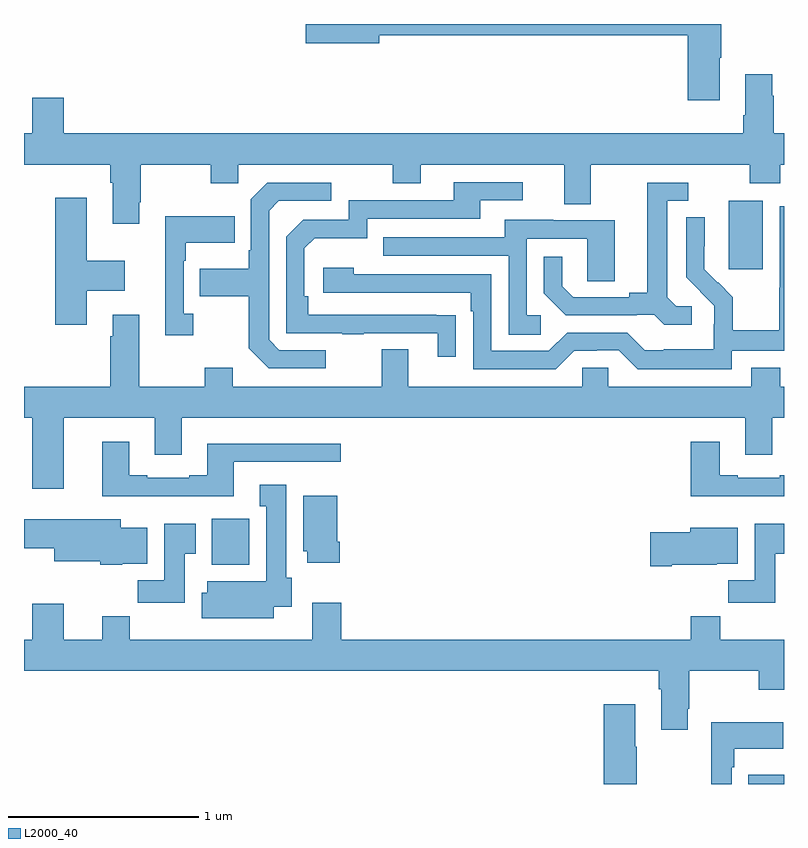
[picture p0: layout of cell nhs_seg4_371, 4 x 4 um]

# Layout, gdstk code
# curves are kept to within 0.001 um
import gdstk
lib = gdstk.Library(unit=1e-6, precision=1e-09)
def R(c, l, rs):  # rectangles x0, y0, x1, y1
    for r in rs: c.add(gdstk.rectangle(r[:2], r[2:], *l))
def P(c, l, *ps):  # polygons
    for p in ps: c.add(gdstk.Polygon(p, *l))
L2000_40 = (2000, 40)

nhs_seg4_371 = lib.new_cell('nhs_seg4_371')
R(nhs_seg4_371, L2000_40, [(132.811,786.9,133,786.949), (129.989,788.054,130.186,788.296), (132.71,789.609,132.889,789.97)])
P(nhs_seg4_371, L2000_40, [(132.661,790.723),(132.669,790.723),(132.669,790.9),(130.482,790.9),(130.482,790.798),(130.87,790.798),(130.87,790.84),(132.494,790.84),(132.494,790.5),(132.661,790.5)],
  [(132.945,790.523),(132.937,790.523),(132.937,790.636),(132.797,790.636),(132.797,790.42),(132.785,790.42),(132.785,790.324),(129.208,790.324),(129.208,790.513),(129.044,790.513),(129.044,790.324),(129,790.324),(129,790.16),(129.455,790.16),(129.455,790.064),(129.467,790.064),(129.467,789.849),(129.607,789.849),(129.607,789.961),(129.614,789.961),(129.614,790.16),(129.982,790.16),(129.982,790.061),(130.128,790.061),(130.128,790.16),(130.942,790.16),(130.942,790.061),(131.089,790.061),(131.089,790.16),(131.843,790.16),(131.843,789.952),(131.983,789.952),(131.983,790.16),(132.82,790.16),(132.82,790.061),(132.98,790.061),(132.98,790.16),(133,790.16),(133,790.324),(132.945,790.324)],
  [(131.273,789.368),(130.496,789.369),(130.496,789.466),(130.476,789.466),(130.476,789.72),(130.529,789.773),(130.806,789.773),(130.806,789.876),(131.401,789.876),(131.401,789.972),(131.626,789.972),(131.626,790.068),(131.261,790.068),(131.261,789.972),(130.71,789.972),(130.71,789.87),(130.47,789.87),(130.38,789.78),(130.38,789.273),(130.675,789.273),(130.675,789.268),(130.787,789.268),(130.787,789.273),(131.177,789.273),(131.177,789.15),(131.273,789.15)],
  [(132.514,789.414),(132.432,789.414),(132.385,789.461),(132.385,789.969),(132.496,789.969),(132.496,790.065),(132.281,790.065),(132.281,789.485),(132.185,789.485),(132.185,789.462),(131.89,789.462),(131.833,789.519),(131.833,789.676),(131.736,789.676),(131.736,789.482),(131.852,789.366),(132.224,789.366),(132.224,789.369),(132.318,789.369),(132.37,789.317),(132.514,789.317)],
  [(130.588,789.183),(130.344,789.183),(130.29,789.237),(130.29,789.918),(130.341,789.969),(130.618,789.969),(130.618,790.065),(130.281,790.065),(130.194,789.978),(130.194,789.709),(130.182,789.709),(130.182,789.613),(129.925,789.613),(129.925,789.466),(130.182,789.466),(130.182,789.193),(130.287,789.087),(130.588,789.087)],
  [(129.331,789.497),(129.529,789.497),(129.529,789.655),(129.331,789.655),(129.331,789.985),(129.164,789.985),(129.164,789.318),(129.331,789.318)],
  [(132.726,789.18),(133,789.18),(133,789.942),(132.978,789.942),(132.978,789.512),(132.976,789.512),(132.976,789.289),(132.731,789.289),(132.731,789.463),(132.654,789.54),(132.651,789.537),(132.581,789.608),(132.582,789.884),(132.486,789.884),(132.486,789.566),(132.632,789.418),(132.632,789.321),(132.63,789.321),(132.63,789.187),(132.367,789.187),(132.367,789.183),(132.267,789.183),(132.174,789.276),(131.859,789.276),(131.763,789.18),(131.46,789.18),(131.46,789.582),(130.736,789.582),(130.736,789.616),(130.575,789.616),(130.575,789.486),(131.351,789.486),(131.351,789.389),(131.364,789.389),(131.364,789.084),(131.799,789.084),(131.895,789.18),(132.014,789.18),(132.014,789.183),(132.129,789.183),(132.229,789.083),(132.726,789.083)],
  [(129.892,789.374),(129.84,789.374),(129.84,789.653),(129.852,789.653),(129.852,789.749),(130.109,789.749),(130.109,789.889),(129.743,789.889),(129.743,789.261),(129.892,789.261)],
  [(131.719,789.366),(131.646,789.366),(131.646,789.771),(131.964,789.771),(131.964,789.547),(132.109,789.547),(132.109,789.867),(131.785,789.867),(131.785,789.871),(131.531,789.871),(131.531,789.777),(130.891,789.777),(130.891,789.681),(131.55,789.681),(131.55,789.265),(131.719,789.265)],
  [(129.208,788.828),(129.689,788.828),(129.689,788.634),(129.829,788.634),(129.829,788.828),(132.797,788.828),(132.797,788.634),(132.937,788.634),(132.937,788.828),(133,788.828),(133,788.992),(132.98,788.992),(132.98,789.091),(132.827,789.091),(132.827,788.992),(132.075,788.992),(132.075,789.09),(131.937,789.09),(131.937,788.992),(131.023,788.992),(131.023,789.187),(130.883,789.187),(130.883,788.992),(130.099,788.992),(130.099,789.091),(129.952,789.091),(129.952,788.992),(129.607,788.992),(129.607,789.37),(129.467,789.37),(129.467,789.257),(129.455,789.257),(129.455,788.992),(129,788.992),(129,788.828),(129.044,788.828),(129.044,788.454),(129.208,788.454)],
  [(130.105,788.595),(130.666,788.595),(130.666,788.692),(129.965,788.692),(129.965,788.524),(129.869,788.524),(129.869,788.511),(129.649,788.511),(129.649,788.524),(129.553,788.524),(129.553,788.701),(129.413,788.701),(129.413,788.414),(130.105,788.414)],
  [(133,788.524),(132.977,788.524),(132.977,788.511),(132.757,788.511),(132.757,788.524),(132.661,788.524),(132.661,788.701),(132.509,788.701),(132.509,788.414),(133,788.414)],
  [(130.315,787.832),(130.408,787.832),(130.408,787.986),(130.381,787.986),(130.381,788.476),(130.241,788.476),(130.241,788.363),(130.274,788.363),(130.274,787.966),(129.965,787.966),(129.965,787.907),(129.935,787.907),(129.935,787.772),(130.315,787.772)],
  [(130.661,788.176),(130.648,788.176),(130.648,788.416),(130.469,788.416),(130.469,788.124),(130.49,788.124),(130.49,788.064),(130.661,788.064)],
  [(129.516,788.06),(129.649,788.06),(129.649,788.248),(129.508,788.248),(129.508,788.293),(129,788.293),(129,788.141),(129.158,788.141),(129.158,788.072),(129.402,788.072),(129.402,788.054),(129.516,788.054)],
  [(132.955,788.113),(133,788.113),(133,788.269),(132.845,788.269),(132.845,787.972),(132.706,787.972),(132.706,787.854),(132.955,787.854)],
  [(129.847,788.113),(129.904,788.113),(129.904,788.269),(129.737,788.269),(129.737,787.972),(129.598,787.972),(129.598,787.854),(129.847,787.854)],
  [(132.409,788.054),(132.645,788.054),(132.645,788.06),(132.757,788.06),(132.757,788.248),(132.506,788.248),(132.506,788.225),(132.297,788.225),(132.297,788.047),(132.409,788.047)],
  [(132.493,787.297),(132.501,787.297),(132.501,787.496),(132.868,787.496),(132.868,787.397),(133,787.397),(133,787.66),(132.665,787.66),(132.665,787.784),(132.509,787.784),(132.509,787.66),(130.67,787.66),(130.67,787.855),(130.517,787.855),(130.517,787.66),(129.557,787.66),(129.557,787.784),(129.413,787.784),(129.413,787.66),(129.208,787.66),(129.208,787.849),(129.044,787.849),(129.044,787.66),(129,787.66),(129,787.496),(132.341,787.496),(132.341,787.4),(132.353,787.4),(132.353,787.185),(132.493,787.185)],
  [(132.225,787.097),(132.217,787.097),(132.217,787.321),(132.05,787.321),(132.05,786.9),(132.225,786.9)],
  [(132.726,786.989),(132.739,786.989),(132.739,787.085),(132.995,787.085),(132.995,787.225),(132.618,787.225),(132.618,786.9),(132.726,786.9)])

lib.write_gds('nhs_seg4_371.gds')
